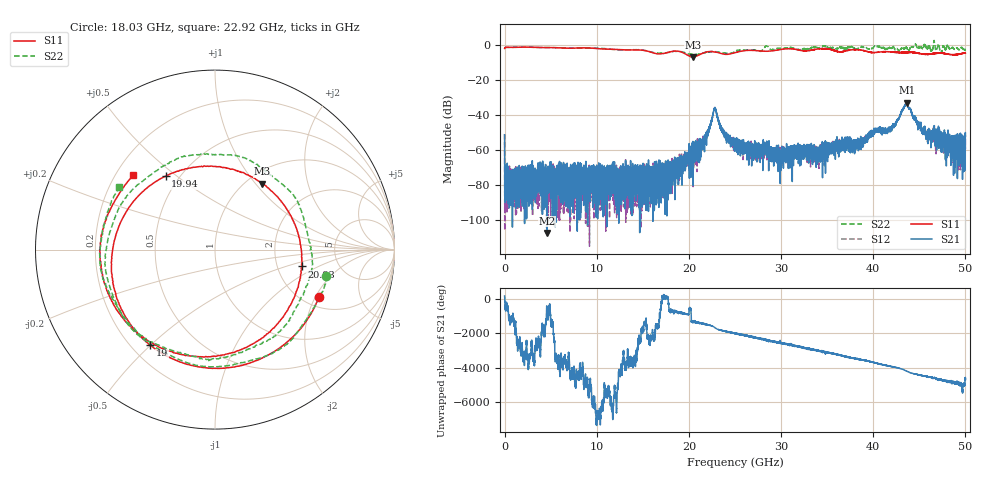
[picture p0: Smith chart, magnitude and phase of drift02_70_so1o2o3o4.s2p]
!Created with skrf (http://scikit-rf.org).
# Hz S RI R 50.0
!freq ReS11 ImS11 ReS21 ImS21 ReS12 ImS12 ReS22 ImS22
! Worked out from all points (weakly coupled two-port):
!   10001 points, 300 kHz to 50 GHz, reference 50 ohm
!   highest |S21| = -32.93 dB at 43.63 GHz (marker M1); lowest = -107.2 dB at 4.615 GHz (marker M2)
!   lowest |S11| = -6.9 dB at 20.44 GHz (marker M3), VSWR 2.65, Z = 58.7 + j54.1 ohm
!   |S11| at or under -10 dB: nowhere
!   |S22| runs from -5.7 to 2.5 dB; largest |S21 - S12| = 0.0046
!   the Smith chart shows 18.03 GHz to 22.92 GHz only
!   S11 on the Smith chart (normalised r, x): 18.03 GHz: 2.38, -2.13; 19 GHz: 0.27, -0.50; 19.94 GHz: 0.42, +0.46; 20.93 GHz: 2.74, -0.68; 22.92 GHz: 0.27, +0.36
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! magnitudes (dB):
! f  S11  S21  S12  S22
! 300 kHz  -2.1  -51.3  -50.8  -2.1
! 255.3 MHz  -1.4  -74.5  -74.9  -1.4
! 4.615 GHz  -1.6  -107.2  -75.9  -1.6
! 8.335 GHz  -1.7  -83.8  -72.6  -1.9
! 16.67 GHz  -5.2  -74.8  -73.9  -4.7
! 18.03 GHz  -3.9  -75.4  -72.8  -3.9
! 19 GHz  -3.8  -65.4  -67.2  -3.9
! 19.94 GHz  -6.1  -62.8  -64.9  -5.2
! 20.44 GHz  -6.9  -55.1  -67.5  -5.4
! 20.93 GHz  -6.2  -58.4  -58.4  -5.6
! 22.92 GHz  -4.2  -36.8  -37.1  -3.9
! 23.71 GHz  -5.2  -49.4  -49.9  -4.6
! 25 GHz  -4.5  -54.9  -54.6  -3.9
! 29.93 GHz  -2.7  -61.0  -62.0  -2.0
! 33.34 GHz  -3.0  -60.0  -63.8  -1.6
! 38 GHz  -2.7  -59.2  -56.0  -2.0
! 40.24 GHz  -4.4  -48.3  -48.8  -0.8
! 41.67 GHz  -4.0  -47.7  -47.7  -1.9
! 43.63 GHz  -4.5  -32.9  -33.2  -1.6
! 45.96 GHz  -5.3  -49.7  -48.7  -1.0
! 49.64 GHz  -5.0  -57.0  -62.6  -1.6
! 50 GHz  -4.8  -52.1  -52.5  -2.7
